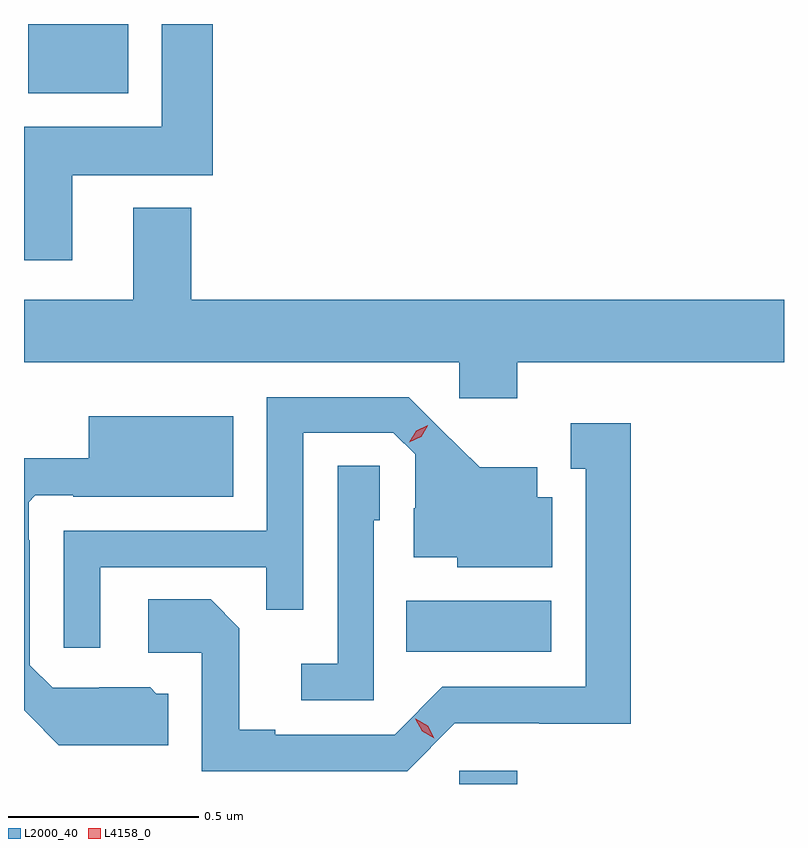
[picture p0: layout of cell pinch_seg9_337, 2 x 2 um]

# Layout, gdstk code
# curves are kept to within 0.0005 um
import gdstk
lib = gdstk.Library(unit=1e-6, precision=1e-09)
def R(c, l, rs):  # rectangles x0, y0, x1, y1
    for r in rs: c.add(gdstk.rectangle(r[:2], r[2:], *l))
def P(c, l, *ps):  # polygons
    for p in ps: c.add(gdstk.Polygon(p, *l))
L2000_40 = (2000, 40)
L4158_0 = (4158, 0)

pinch_seg9_337 = lib.new_cell('pinch_seg9_337')
R(pinch_seg9_337, L2000_40, [(599.046,1189.982,599.198,1190.017), (598.906,1190.33,599.287,1190.464), (597.911,1191.8,598.174,1191.982)])
P(pinch_seg9_337, L2000_40, [(598.027,1191.584),(598.397,1191.584),(598.397,1191.982),(598.262,1191.982),(598.262,1191.712),(597.9,1191.712),(597.9,1191.36),(598.027,1191.36)],
  [(599.198,1191.092),(599.9,1191.092),(599.9,1191.256),(598.34,1191.256),(598.34,1191.499),(598.187,1191.499),(598.187,1191.256),(597.9,1191.256),(597.9,1191.092),(599.046,1191.092),(599.046,1190.997),(599.198,1190.997)],
  [(598.101,1190.553),(598.537,1190.553),(598.537,1190.44),(598.635,1190.44),(598.635,1190.907),(598.872,1190.907),(598.929,1190.85),(598.929,1190.708),(598.925,1190.708),(598.925,1190.579),(599.04,1190.579),(599.04,1190.552),(599.29,1190.552),(599.29,1190.737),(599.251,1190.737),(599.251,1190.815),(599.099,1190.815),(598.912,1191),(598.539,1191),(598.539,1190.649),(598.005,1190.649),(598.005,1190.34),(598.101,1190.34)],
  [(598.279,1190.22),(598.248,1190.22),(598.232,1190.236),(598.098,1190.236),(598.098,1190.235),(597.975,1190.235),(597.915,1190.295),(597.915,1190.624),(597.912,1190.624),(597.912,1190.724),(597.93,1190.742),(598.03,1190.742),(598.03,1190.738),(598.45,1190.738),(598.45,1190.95),(598.07,1190.95),(598.07,1190.839),(597.9,1190.839),(597.9,1190.176),(597.991,1190.084),(598.279,1190.084)],
  [(599.034,1190.142),(599.256,1190.142),(599.256,1190.141),(599.497,1190.141),(599.497,1190.932),(599.339,1190.932),(599.339,1190.811),(599.378,1190.811),(599.378,1190.238),(599.001,1190.238),(598.875,1190.112),(598.561,1190.112),(598.561,1190.125),(598.467,1190.125),(598.467,1190.392),(598.391,1190.468),(598.227,1190.468),(598.227,1190.328),(598.368,1190.328),(598.368,1190.016),(598.908,1190.016)],
  [(598.821,1190.676),(598.836,1190.676),(598.836,1190.819),(598.725,1190.819),(598.725,1190.299),(598.629,1190.299),(598.629,1190.202),(598.821,1190.202)])
P(pinch_seg9_337, L4158_0, [(598.98,1190.102),(598.948,1190.121),(598.93,1190.154),(598.93,1190.154),(598.931,1190.154),(598.962,1190.135),(598.98,1190.103),(598.98,1190.102)],
  [(598.914,1190.882),(598.914,1190.882),(598.932,1190.911),(598.962,1190.926),(598.963,1190.926),(598.963,1190.925),(598.945,1190.896),(598.914,1190.882)])

lib.write_gds('pinch_seg9_337.gds')
